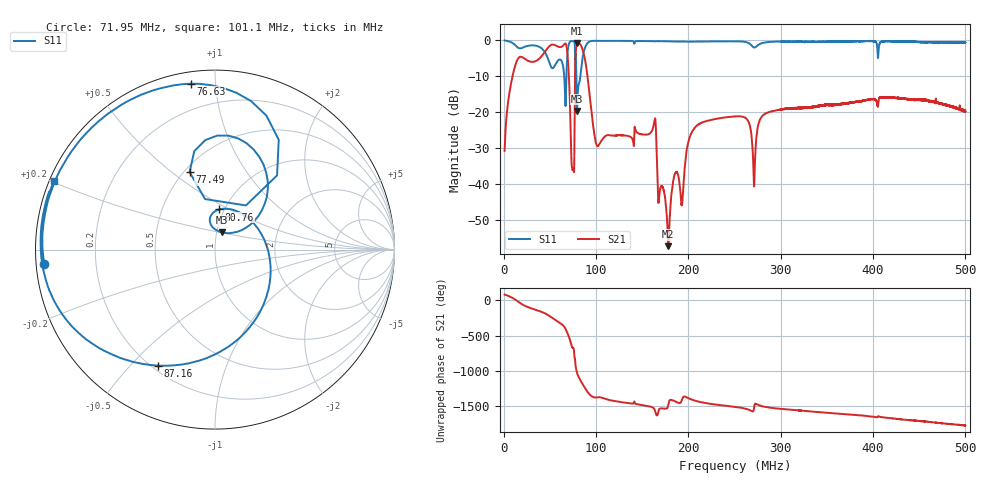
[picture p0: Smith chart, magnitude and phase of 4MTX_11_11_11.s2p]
! NanoVNA-App
! Date: 2026-08-18 21:03:23
! Start: 1MHz Stop: 500MHz Points: 6401
! S-Parameter data: F S11 S21 S12 S22
# Hz S RI R 50
!  Frequency  S11_Real  S11_Imag  S21_Real  S21_Imag  S12_Real  S12_Imag  S22_Real  S22_Imag
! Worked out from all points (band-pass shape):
!   6401 points, 1 MHz to 500 MHz, reference 50 ohm
!   highest |S21| = -0.81 dB at 79.75 MHz (marker M1); lowest = -57.4 dB at 178.3 MHz (marker M2)
!   |S21| within 3 dB of the highest: 43.07 MHz to 69.01 MHz (25.93 MHz wide, 46.3 % of centre); 77.99 MHz to 86.66 MHz (8.669 MHz wide, 10.5 % of centre)
!   lowest |S11| = -19.7 dB at 79.44 MHz (marker M3), VSWR 1.23, Z = 52.9 + j10.3 ohm
!   |S11| at or under -10 dB: 65.51 MHz to 67.92 MHz (2.405 MHz wide, 3.61 % of centre); 77.32456 MHz to 77.42588 MHz (101.3 kHz wide, 0.131 % of centre); 78.71 MHz to 83.04 MHz (4.331 MHz wide, 5.35 % of centre)
!   S12 and S22 are empty: the file has one direction only
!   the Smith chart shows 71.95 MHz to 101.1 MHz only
!   S11 on the Smith chart (normalised r, x): 71.95 MHz: 0.02, -0.04; 76.63 MHz: 0.06, +0.86; 77.49 MHz: 0.53, +0.58; 80.76 MHz: 0.94, +0.44; 87.16 MHz: 0.22, -0.60; 101.1 MHz: 0.01, +0.20
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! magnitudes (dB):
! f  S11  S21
! 1 MHz  -0.1  -30.8
! 14.72 MHz  -2.0  -5.5
! 51.68 MHz  -7.6  -1.3
! 67.2 MHz  -17.2  -1.0
! 71.95 MHz  -0.4  -19.6
! 76.63 MHz  -0.6  -28.5
! 77.49 MHz  -6.9  -5.6
! 79.44 MHz  -19.7  -0.8
! 79.75 MHz  -18.0  -0.8
! 80.76 MHz  -13.0  -0.9
! 84.19 MHz  -7.3  -1.8
! 87.16 MHz  -2.8  -4.3
! 101.1 MHz  -0.2  -29.4
! 162.6 MHz  -0.3  -23.5
! 167.4 MHz  -0.3  -44.9
! 178.3 MHz  -0.3  -57.4
! 205 MHz  -0.4  -25.1
! 250.5 MHz  -0.3  -21.2
! 271.2 MHz  -2.1  -40.7
! 333.7 MHz  -0.4  -18.7
! 416.9 MHz  -0.3  -16.0
! 500 MHz  -0.6  -19.9
